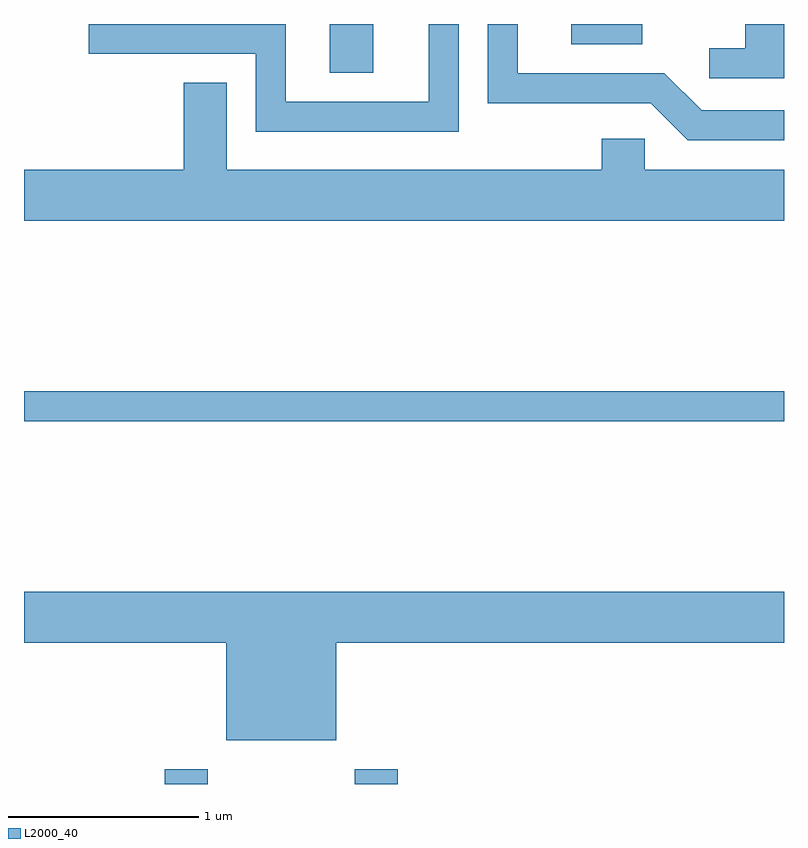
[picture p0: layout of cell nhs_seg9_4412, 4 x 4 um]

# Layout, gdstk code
import gdstk
lib = gdstk.Library(unit=1e-6, precision=1e-09)
def R(c, l, rs):  # rectangles x0, y0, x1, y1
    for r in rs: c.add(gdstk.rectangle(r[:2], r[2:], *l))
def P(c, l, *ps):  # polygons
    for p in ps: c.add(gdstk.Polygon(p, *l))
L2000_40 = (2000, 40)

nhs_seg9_4412 = lib.new_cell('nhs_seg9_4412')
R(nhs_seg9_4412, L2000_40, [(316.351,1964.432,316.579,1964.509), (317.351,1964.432,317.579,1964.509), (315.611,1966.341,319.611,1966.499), (317.221,1968.176,317.449,1968.432), (318.491,1968.326,318.864,1968.432)])
P(nhs_seg9_4412, L2000_40, [(319.611,1968.432),(319.406,1968.432),(319.406,1968.304),(319.218,1968.304),(319.218,1968.146),(319.611,1968.146)],
  [(319.611,1967.979),(319.177,1967.979),(318.982,1968.174),(318.209,1968.174),(318.209,1968.432),(318.051,1968.432),(318.051,1968.016),(318.909,1968.016),(319.104,1967.821),(319.611,1967.821)],
  [(317.899,1968.432),(317.741,1968.432),(317.741,1968.024),(316.989,1968.024),(316.989,1968.432),(315.953,1968.432),(315.953,1968.276),(316.831,1968.276),(316.831,1967.866),(317.899,1967.866)],
  [(319.611,1967.664),(318.879,1967.664),(318.879,1967.829),(318.651,1967.829),(318.651,1967.664),(316.679,1967.664),(316.679,1968.124),(316.451,1968.124),(316.451,1967.664),(315.611,1967.664),(315.611,1967.396),(319.611,1967.396)],
  [(317.254,1965.176),(319.611,1965.176),(319.611,1965.444),(315.611,1965.444),(315.611,1965.176),(316.676,1965.176),(316.676,1964.661),(317.254,1964.661)])

lib.write_gds('nhs_seg9_4412.gds')
